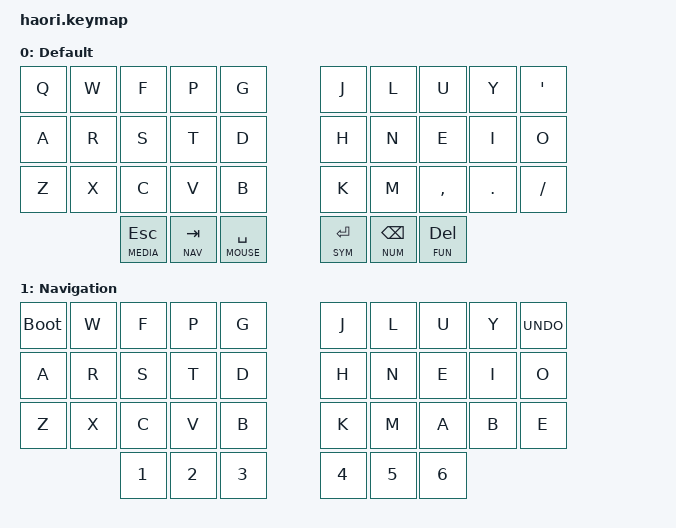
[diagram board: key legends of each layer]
#include <behaviors.dtsi>
#include <dt-bindings/zmk/keys.h>

#define BASE    0
#define NAV     1
#define NUM     2
#define SYM     3
#define FUN     4
#define MBO     5
#define MEDIA   6
#define MOUSE   7



/ {

    keymap {
        compatible = "zmk,keymap";

        default_layer {
            display-name = "Default";
            bindings = <
                &kp Q        &kp W        &kp F        &kp P        &kp G           &kp J        &kp L        &kp U        &kp Y        &kp QUOT
                &kp A        &kp R        &kp S        &kp T        &kp D           &kp H        &kp N        &kp E        &kp I        &kp O
                &kp Z        &kp X        &kp C        &kp V        &kp B           &kp K        &kp M        &kp COMMA    &kp DOT      &kp SLASH
                                            &lt MEDIA ESC  &lt NAV TAB   &lt MOUSE SPACE   &lt SYM ENTER  &lt NUM BSPC   &lt FUN DEL
            >;
        };
        
        nav_layer {
            display-name = "Navigation";
            bindings = <
                &bootloader &kp W &kp F  &kp P  &kp G    &kp J  &kp L  &kp U &kp Y &kp UNDO       
                &kp A &kp R &kp S  &kp T  &kp D    &kp H  &kp N  &kp E &kp I &kp O   
                &kp Z &kp X &kp C  &kp V  &kp B    &kp K  &kp M  &kp A &kp B &kp E 
                            &kp N1 &kp N2 &kp N3   &kp N4 &kp N5 &kp N6   
            >;
        };
    };
};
